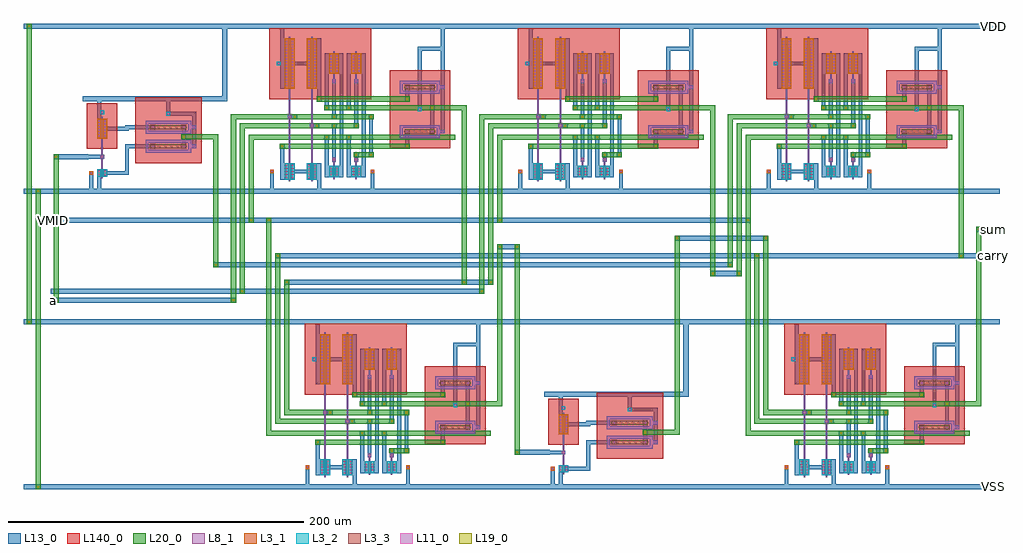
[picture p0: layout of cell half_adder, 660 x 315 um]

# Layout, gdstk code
import gdstk
lib = gdstk.Library(unit=1e-6, precision=1e-09)
def R(c, l, rs):  # rectangles x0, y0, x1, y1
    for r in rs: c.add(gdstk.rectangle(r[:2], r[2:], *l))
def A(c, l, x, y, w, h, nx, ny, dx, dy):  # array of equal rectangles
    R(c, l, [(x+i*dx, y+j*dy, x+i*dx+w, y+j*dy+h) for i in range(nx) for j in range(ny)])
def P(c, l, *ps):  # polygons
    for p in ps: c.add(gdstk.Polygon(p, *l))
L3_1 = (3, 1)
L3_2 = (3, 2)
L3_3 = (3, 3)
L8_1 = (8, 1)
L11_0 = (11, 0)
L13_0 = (13, 0)
L19_0 = (19, 0)
L20_0 = (20, 0)
L140_0 = (140, 0)

fet_p = lib.new_cell('fet_p')
R(fet_p, L3_1, [(-3.3,-6.75,3.3,6.75)])
A(fet_p, L11_0, -2.5, -5.5, 1, 1, 1, 6, 0, 2)
A(fet_p, L11_0, 1.5, -5.5, 1, 1, 1, 6, 0, 2)
R(fet_p, L13_0, [(-3.3,-6.3,-0.7,6.3), (0.7,-6.3,3.3,6.3)])
fet_p.add(gdstk.FlexPath([(0,-7.95),(0,7.95)], 1, ends="flush", simple_path=True, layer=8, datatype=1))  # L8_1

fet_n = lib.new_cell('fet_n')
R(fet_n, L3_2, [(-3.3,-2.5,3.3,2.5)])
R(fet_n, L11_0, [(-2.5,-1.5,-1.5,-0.5), (1.5,-1.5,2.5,-0.5), (-2.5,0.5,-1.5,1.5), (1.5,0.5,2.5,1.5)])
R(fet_n, L13_0, [(-3.3,-2.3,-0.7,2.3), (0.7,-2.3,3.3,2.3)])
fet_n.add(gdstk.FlexPath([(0,-3.7),(0,3.7)], 1, ends="flush", simple_path=True, layer=8, datatype=1))  # L8_1

res_diff = lib.new_cell('res_diff')
P(res_diff, L3_3, [(-11.5,-1.4),(-12.5,-0.4),(-12.5,0.4),(-11.5,1.4),(11.5,1.4),(12.5,0.4),(12.5,-0.4),(11.5,-1.4)])
P(res_diff, L8_1, [(-15.5,-4.4),(-15.5,2.4),(-13.5,2.4),(-13.5,-2.4),(13.5,-2.4),(13.5,2.4),(-15.5,2.4),(-15.5,4.4),(15.5,4.4),(15.5,-4.4)])
R(res_diff, L11_0, [(-11,-0.5,-10,0.5), (10,-0.5,11,0.5)])
R(res_diff, L13_0, [(-12.2,-1.7,-8.8,1.7), (8.8,-1.7,12.2,1.7)])

cont_n = lib.new_cell('cont_n')
R(cont_n, L3_2, [(-1.3,-1.3,1.3,1.3)])
R(cont_n, L11_0, [(-0.5,-0.5,0.5,0.5)])
R(cont_n, L13_0, [(-1.3,-1.3,1.3,1.3)])

cont_p = lib.new_cell('cont_p')
R(cont_p, L3_1, [(-1.3,-1.3,1.3,1.3)])
R(cont_p, L11_0, [(-0.5,-0.5,0.5,0.5)])
R(cont_p, L13_0, [(-1.3,-1.3,1.3,1.3)])

cont_g = lib.new_cell('cont_g')
R(cont_g, L8_1, [(-1.3,-1.3,1.3,1.3)])
R(cont_g, L11_0, [(-0.5,-0.5,0.5,0.5)])
R(cont_g, L13_0, [(-1.3,-1.3,1.3,1.3)])

via_1 = lib.new_cell('via_1')
R(via_1, L13_0, [(-1.7,-1.7,1.7,1.7)])
R(via_1, L19_0, [(-0.7,-0.7,0.7,0.7)])
R(via_1, L20_0, [(-1.7,-1.7,1.7,1.7)])

inverter = lib.new_cell('inverter')
R(inverter, L8_1, [(12.7,13.5,13.7,44.5), (72.2,30.7,76.8,33.3), (72.2,43.7,76.8,46.3)])
R(inverter, L13_0, [(0,0,84,3.4), (4.5,0.4,7.1,15.3), (9.9,0.4,12.5,15.3), (13.9,12.7,31.3,15.3), (28.7,12.7,31.3,33.3), (0,23.7,13.2,26.3), (28.7,30.7,48.8,33.3), (67.2,30.7,69.8,46.3), (74.2,30.7,76.8,55.3), (9.9,42.7,12.5,65.6), (13.9,42.7,31.3,45.3), (28.7,42.7,31.3,46.3), (28.7,43.7,48.8,46.3), (56.7,52.7,59.3,65.6), (56.7,52.7,76.8,55.3), (9.9,53.7,14.5,56.3), (0,62.6,84,66)])
R(inverter, L20_0, [(68.5,36.8,84,40.2)])
R(inverter, L140_0, [(35.5,20.6,80.5,65.3), (2.9,30.25,23.5,61.3)])
inverter.add(gdstk.Reference(fet_p, (13.2,44)))
inverter.add(gdstk.Reference(fet_n, (13.2,14)))
inverter.add(gdstk.Reference(res_diff, (58,45)))
inverter.add(gdstk.Reference(res_diff, (58,32)))
inverter.add(gdstk.Reference(cont_n, (13.2,55)))
inverter.add(gdstk.Reference(cont_n, (58,54)))
inverter.add(gdstk.Reference(cont_p, (5.8,14)))
inverter.add(gdstk.Reference(cont_g, (75.5,32)))
inverter.add(gdstk.Reference(cont_g, (75.5,45)))
inverter.add(gdstk.Reference(cont_g, (13.2,25)))
inverter.add(gdstk.Reference(via_1, (68.5,38.5)))
inverter.add(gdstk.Label('vin', (2,25), layer=48, texttype=0))
inverter.add(gdstk.Label('VDD', (42,64.3), layer=48, texttype=0))
inverter.add(gdstk.Label('VSS', (42,1.7), layer=48, texttype=0))
inverter.add(gdstk.Label('vout', (82,38.5), layer=49, texttype=0))

fet_p_1 = lib.new_cell('fet_p$1')
R(fet_p_1, L3_1, [(-3.3,-17,3.3,17)])
A(fet_p_1, L11_0, -2.5, -15.5, 1, 1, 1, 16, 0, 2)
A(fet_p_1, L11_0, 1.5, -15.5, 1, 1, 1, 16, 0, 2)
R(fet_p_1, L13_0, [(-3.3,-16.3,-0.7,16.3), (0.7,-16.3,3.3,16.3)])
fet_p_1.add(gdstk.FlexPath([(0,-18.2),(0,18.2)], 1, ends="flush", simple_path=True, layer=8, datatype=1))  # L8_1

fet_p_1_1 = lib.new_cell('fet_p$1$1')
R(fet_p_1_1, L3_1, [(-3.3,-7,3.3,7)])
A(fet_p_1_1, L11_0, -2.5, -5.5, 1, 1, 1, 6, 0, 2)
A(fet_p_1_1, L11_0, 1.5, -5.5, 1, 1, 1, 6, 0, 2)
R(fet_p_1_1, L13_0, [(-3.3,-6.3,-0.7,6.3), (0.7,-6.3,3.3,6.3)])
fet_p_1_1.add(gdstk.FlexPath([(0,-8.2),(0,8.2)], 1, ends="flush", simple_path=True, layer=8, datatype=1))  # L8_1

fet_n_1 = lib.new_cell('fet_n$1')
R(fet_n_1, L3_2, [(-3.3,-5.5,3.3,5.5)])
A(fet_n_1, L11_0, -2.5, -4.5, 1, 1, 1, 5, 0, 2)
A(fet_n_1, L11_0, 1.5, -4.5, 1, 1, 1, 5, 0, 2)
R(fet_n_1, L13_0, [(-3.3,-5.3,-0.7,5.3), (0.7,-5.3,3.3,5.3)])
fet_n_1.add(gdstk.FlexPath([(0,-6.7),(0,6.7)], 1, ends="flush", simple_path=True, layer=8, datatype=1))  # L8_1

fet_n_1_1 = lib.new_cell('fet_n$1$1')
R(fet_n_1_1, L3_2, [(-3.3,-4,3.3,4)])
A(fet_n_1_1, L11_0, -2.5, -2.5, 1, 1, 1, 3, 0, 2)
A(fet_n_1_1, L11_0, 1.5, -2.5, 1, 1, 1, 3, 0, 2)
R(fet_n_1_1, L13_0, [(-3.3,-3.3,-0.7,3.3), (0.7,-3.3,3.3,3.3)])
fet_n_1_1.add(gdstk.FlexPath([(0,-5.2),(0,5.2)], 1, ends="flush", simple_path=True, layer=8, datatype=1))  # L8_1

res_diff_1 = lib.new_cell('res_diff$1')
P(res_diff_1, L3_3, [(-9.5,-1.4),(-10.5,-0.4),(-10.5,0.4),(-9.5,1.4),(9.5,1.4),(10.5,0.4),(10.5,-0.4),(9.5,-1.4)])
P(res_diff_1, L8_1, [(-13.5,-4.4),(-13.5,2.4),(-11.5,2.4),(-11.5,-2.4),(11.5,-2.4),(11.5,2.4),(-13.5,2.4),(-13.5,4.4),(13.5,4.4),(13.5,-4.4)])
R(res_diff_1, L11_0, [(-9,-0.5,-8,0.5), (8,-0.5,9,0.5)])
R(res_diff_1, L13_0, [(-10.2,-1.7,-6.8,1.7), (6.8,-1.7,10.2,1.7)])

cont_n_1 = lib.new_cell('cont_n$1')
R(cont_n_1, L3_2, [(-1.3,-1.3,1.3,1.3)])
R(cont_n_1, L11_0, [(-0.5,-0.5,0.5,0.5)])
R(cont_n_1, L13_0, [(-1.3,-1.3,1.3,1.3)])

cont_p_1 = lib.new_cell('cont_p$1')
R(cont_p_1, L3_1, [(-1.3,-1.3,1.3,1.3)])
R(cont_p_1, L11_0, [(-0.5,-0.5,0.5,0.5)])
R(cont_p_1, L13_0, [(-1.3,-1.3,1.3,1.3)])

cont_g_1 = lib.new_cell('cont_g$1')
R(cont_g_1, L8_1, [(-1.3,-1.3,1.3,1.3)])
R(cont_g_1, L11_0, [(-0.5,-0.5,0.5,0.5)])
R(cont_g_1, L13_0, [(-1.3,-1.3,1.3,1.3)])

via_1_1 = lib.new_cell('via_1$1')
R(via_1_1, L13_0, [(-1.7,-1.7,1.7,1.7)])
R(via_1_1, L19_0, [(-0.7,-0.7,0.7,0.7)])
R(via_1_1, L20_0, [(-1.7,-1.7,1.7,1.7)])

nany = lib.new_cell('nany')
R(nany, L8_1, [(19.5,14.5,20.5,88.5), (34.5,14.5,35.5,88.5), (49.5,14.5,50.5,23.5), (64.5,14.5,65.5,23.5), (120.2,40.7,124.8,43.3), (120.2,70.7,124.8,73.3), (49.5,75.5,50.5,88.5), (64.5,75.5,65.5,88.5)])
R(nany, L13_0, [(0,0,132,3.4), (6.7,0.4,9.3,16.3), (38.7,0.4,41.3,16.3), (74.7,0.4,77.3,16.3), (13.7,9.5,19.3,20.5), (35.7,9.5,41.3,20.5), (43.7,11,49.3,19), (50.7,11,56.3,19), (58.7,11,64.3,19), (65.7,11,71.3,19), (13.7,13.7,19.3,16.3), (13.7,13.7,16.3,33.3), (20.7,13.7,34.3,16.3), (35.7,13.7,41.3,16.3), (43.7,13.7,49.3,16.3), (43.7,13.7,46.3,39.3), (50.7,13.7,56.3,16.3), (53.7,13.7,56.3,89.3), (58.7,13.7,64.3,16.3), (58.7,13.7,61.3,39.3), (65.7,13.7,71.3,16.3), (68.7,13.7,71.3,89.3), (48.7,21.7,51.3,47.3), (48.7,21.7,51.3,24.3), (63.7,21.7,66.3,27.6), (73.7,25,76.3,27.6), (73.7,25,76.3,53.3), (98.2,30.7,100.8,43.3), (98.2,40.7,100.8,43.3), (115.2,40.7,117.8,73.3), (122.2,40.7,124.8,99.3), (33.7,44.7,39.6,47.3), (63.7,44.7,66.3,77.3), (18.7,50.7,24.6,53.3), (48.7,50.7,51.3,77.3), (106.7,55.7,109.3,99.3), (43.7,56.7,46.3,89.3), (58.7,56.7,61.3,89.3), (38.7,62.7,41.3,89.3), (98.2,62.7,100.8,73.3), (98.2,70.7,100.8,73.3), (13.7,71,19.3,105), (35.7,71,41.3,105), (48.7,74.7,51.3,77.3), (63.7,74.7,66.3,77.3), (43.7,81,49.3,95), (50.7,81,56.3,95), (58.7,81,64.3,95), (65.7,81,71.3,95), (11.3,86.7,16.3,89.3), (13.7,86.7,16.3,114.6), (13.7,86.7,19.3,89.3), (20.7,86.7,34.3,89.3), (35.7,86.7,41.3,89.3), (43.7,86.7,49.3,89.3), (50.7,86.7,56.3,89.3), (58.7,86.7,64.3,89.3), (65.7,86.7,71.3,89.3), (106.7,96.7,124.8,99.3), (122.2,96.7,124.8,114.6), (0,111.6,132,115)])
R(nany, L20_0, [(63.3,24.6,76.7,28), (13.3,30.3,101.2,33.7), (0,36.3,132,39.7), (0,44.3,66.7,47.7), (0,50.3,76.7,53.7), (43.3,56.3,132,59.7), (38.3,62.3,101.2,65.7)])
R(nany, L140_0, [(87.5,30.6,128.5,83.4), (6.3,64,75.3,112)])
nany.add(gdstk.Reference(fet_p_1, (35,88)))
nany.add(gdstk.Reference(fet_p_1, (20,88)))
nany.add(gdstk.Reference(fet_p_1_1, (50,88)))
nany.add(gdstk.Reference(fet_p_1_1, (65,88)))
nany.add(gdstk.Reference(fet_n_1, (20,15)))
nany.add(gdstk.Reference(fet_n_1, (35,15)))
nany.add(gdstk.Reference(fet_n_1_1, (50,15)))
nany.add(gdstk.Reference(fet_n_1_1, (65,15)))
nany.add(gdstk.Reference(res_diff_1, (108,72)))
nany.add(gdstk.Reference(res_diff_1, (108,42)))
nany.add(gdstk.Reference(cont_n_1, (12.6,88)))
nany.add(gdstk.Reference(cont_n_1, (108,57)))
nany.add(gdstk.Reference(cont_p_1, (8,15)))
nany.add(gdstk.Reference(cont_p_1, (76,15)))
nany.add(gdstk.Reference(cont_g_1, (50,23)))
nany.add(gdstk.Reference(cont_g_1, (50,76)))
nany.add(gdstk.Reference(cont_g_1, (65,76)))
nany.add(gdstk.Reference(cont_g_1, (65,23)))
nany.add(gdstk.Reference(cont_g_1, (35,46)))
nany.add(gdstk.Reference(cont_g_1, (20,52)))
nany.add(gdstk.Reference(cont_g_1, (123.5,72)))
nany.add(gdstk.Reference(cont_g_1, (123.5,42)))
nany.add(gdstk.Reference(via_1_1, (75,26.3)))
nany.add(gdstk.Reference(via_1_1, (65,26.3)))
nany.add(gdstk.Reference(via_1_1, (75,52)))
nany.add(gdstk.Reference(via_1_1, (50,46)))
nany.add(gdstk.Reference(via_1_1, (99.5,64)))
nany.add(gdstk.Reference(via_1_1, (99.5,32)))
nany.add(gdstk.Reference(via_1_1, (116.5,58)))
nany.add(gdstk.Reference(via_1_1, (65,46)))
nany.add(gdstk.Reference(via_1_1, (50,52)))
nany.add(gdstk.Reference(via_1_1, (38.3,46)))
nany.add(gdstk.Reference(via_1_1, (23.3,52)))
nany.add(gdstk.Reference(via_1_1, (60,38)))
nany.add(gdstk.Reference(via_1_1, (60,58)))
nany.add(gdstk.Reference(via_1_1, (45,38)))
nany.add(gdstk.Reference(via_1_1, (45,58)))
nany.add(gdstk.Reference(via_1_1, (15,32)))
nany.add(gdstk.Reference(via_1_1, (40,64)))
nany.add(gdstk.Label('VDD', (66,113.3), layer=48, texttype=0))
nany.add(gdstk.Label('VSS', (66,1.7), layer=48, texttype=0))
nany.add(gdstk.Label('a', (2,52), layer=49, texttype=0))
nany.add(gdstk.Label('b', (2,46), layer=49, texttype=0))
nany.add(gdstk.Label('vout', (130,58), layer=49, texttype=0))
nany.add(gdstk.Label('VMID', (66,38), layer=49, texttype=0))

half_adder = lib.new_cell('half_adder')
R(half_adder, L13_0, [(0,0,660,3.4), (8.3,0,11.7,3.4), (332.3,23.3,355.7,26.7), (332.3,23.3,335.7,26.7), (432.6,62.6,449.7,66), (446.3,62.6,449.7,115), (0,111.6,660,115), (2.3,111.6,5.7,115), (18.3,126.3,143.7,129.7), (20.3,126.3,23.7,129.7), (140.3,126.3,143.7,129.7), (18.3,132.3,311.7,135.7), (146.3,132.3,149.7,135.7), (308.3,132.3,311.7,135.7), (176.3,138.3,179.7,141.7), (176.3,138.3,317.7,141.7), (296.3,138.3,299.7,141.7), (314.3,138.3,317.7,141.7), (464.3,144.3,467.7,147.7), (464.3,144.3,485.7,147.7), (482.3,144.3,485.7,147.7), (128.3,150.3,131.7,153.7), (128.3,150.3,479.7,153.7), (476.3,150.3,479.7,153.7), (170.3,156.3,173.7,159.7), (170.3,156.3,657.7,159.7), (494.3,156.3,497.7,159.7), (632.3,156.3,635.7,159.7), (320.3,162.3,323.7,165.7), (320.3,162.3,335.7,165.7), (332.3,162.3,335.7,165.7), (440.3,168.3,443.7,171.7), (440.3,168.3,503.7,171.7), (500.3,168.3,503.7,171.7), (644.3,174.3,647.7,177.7), (644.3,174.3,657.7,177.7), (18.3,180.3,491.7,183.7), (152.3,180.3,155.7,183.7), (164.3,180.3,167.7,183.7), (320.3,180.3,323.7,183.7), (488.3,180.3,491.7,183.7), (488.3,180.3,491.7,183.7), (0,200,660,203.4), (8.3,200,11.7,203.4), (20.3,223.3,43.7,226.7), (20.3,223.3,23.7,226.7), (120.6,262.6,137.7,266), (134.3,262.6,137.7,315), (0,311.6,660,315), (2.3,311.6,5.7,315)])
R(half_adder, L19_0, [(9.3,1,10.7,2.4), (333.3,24.3,334.7,25.7), (3.3,112.6,4.7,114), (21.3,127.3,22.7,128.7), (141.3,127.3,142.7,128.7), (147.3,133.3,148.7,134.7), (309.3,133.3,310.7,134.7), (177.3,139.3,178.7,140.7), (297.3,139.3,298.7,140.7), (315.3,139.3,316.7,140.7), (465.3,145.3,466.7,146.7), (483.3,145.3,484.7,146.7), (129.3,151.3,130.7,152.7), (477.3,151.3,478.7,152.7), (171.3,157.3,172.7,158.7), (495.3,157.3,496.7,158.7), (633.3,157.3,634.7,158.7), (321.3,163.3,322.7,164.7), (333.3,163.3,334.7,164.7), (441.3,169.3,442.7,170.7), (501.3,169.3,502.7,170.7), (645.3,175.3,646.7,176.7), (153.3,181.3,154.7,182.7), (165.3,181.3,166.7,182.7), (321.3,181.3,322.7,182.7), (489.3,181.3,490.7,182.7), (489.3,181.3,490.7,182.7), (9.3,201,10.7,202.4), (21.3,224.3,22.7,225.7), (3.3,312.6,4.7,314)])
A(half_adder, L20_0, 152.3, 180.3, 3.4, 59.4, 3, 1, 168, 0)
A(half_adder, L20_0, 152.3, 236.3, 75.4, 3.4, 3, 1, 168, 0)
A(half_adder, L20_0, 146.3, 244.3, 17.4, 3.4, 3, 1, 168, 0)
A(half_adder, L20_0, 140.3, 250.3, 23.4, 3.4, 3, 1, 168, 0)
A(half_adder, L20_0, 288.3, 256.3, 11.4, 3.4, 3, 1, 168, 0)
R(half_adder, L20_0, [(8.3,0,11.7,3.4), (8.3,0,11.7,203.4), (332.3,23.3,335.7,26.7), (332.3,23.3,335.7,165.7), (164.3,36.3,251.7,39.7), (164.3,36.3,167.7,183.7), (488.3,36.3,575.7,39.7), (488.3,36.3,491.7,183.7), (432.3,36.8,443.7,40.2), (440.3,36.8,443.7,171.7), (170.3,44.3,187.7,47.7), (170.3,44.3,173.7,159.7), (494.3,44.3,511.7,47.7), (494.3,44.3,497.7,159.7), (176.3,50.3,187.7,53.7), (176.3,50.3,179.7,141.7), (500.3,50.3,511.7,53.7), (500.3,50.3,503.7,171.7), (312.3,56.3,323.7,59.7), (320.3,56.3,323.7,165.7), (636.3,56.3,647.7,59.7), (644.3,56.3,647.7,177.7), (2.3,111.6,5.7,115), (2.3,111.6,5.7,315), (20.3,126.3,23.7,129.7), (20.3,126.3,23.7,226.7), (140.3,126.3,143.7,129.7), (140.3,126.3,143.7,253.7), (146.3,132.3,149.7,135.7), (146.3,132.3,149.7,247.7), (308.3,132.3,311.7,135.7), (308.3,132.3,311.7,253.7), (176.3,138.3,179.7,141.7), (296.3,138.3,299.7,141.7), (296.3,138.3,299.7,259.7), (314.3,138.3,317.7,141.7), (314.3,138.3,317.7,247.7), (464.3,144.3,467.7,147.7), (464.3,144.3,467.7,259.7), (482.3,144.3,485.7,147.7), (482.3,144.3,485.7,247.7), (128.3,150.3,131.7,153.7), (128.3,150.3,131.7,240.2), (476.3,150.3,479.7,153.7), (476.3,150.3,479.7,253.7), (170.3,156.3,173.7,159.7), (494.3,156.3,497.7,159.7), (632.3,156.3,635.7,159.7), (632.3,156.3,635.7,259.7), (320.3,162.3,323.7,165.7), (332.3,162.3,335.7,165.7), (440.3,168.3,443.7,171.7), (500.3,168.3,503.7,171.7), (644.3,174.3,647.7,177.7), (152.3,180.3,155.7,183.7), (164.3,180.3,167.7,183.7), (320.3,180.3,323.7,183.7), (488.3,180.3,491.7,183.7), (488.3,180.3,491.7,183.7), (8.3,200,11.7,203.4), (20.3,223.3,23.7,226.7), (120.3,236.8,131.7,240.2), (2.3,311.6,5.7,315)])
half_adder.add(gdstk.Reference(inverter, (40,200)))
half_adder.add(gdstk.Reference(nany, (160,200)))
half_adder.add(gdstk.Reference(nany, (328,200)))
half_adder.add(gdstk.Reference(nany, (496,200)))
half_adder.add(gdstk.Reference(nany, (184,0)))
half_adder.add(gdstk.Reference(inverter, (352,0)))
half_adder.add(gdstk.Reference(nany, (508,0)))
half_adder.add(gdstk.Label('a', (20,128), layer=48, texttype=0))
half_adder.add(gdstk.Label('b', (20,134), layer=48, texttype=0))
half_adder.add(gdstk.Label('carry', (656,158), layer=48, texttype=0))
half_adder.add(gdstk.Label('sum', (656,176), layer=48, texttype=0))
half_adder.add(gdstk.Label('VMID', (20,182), layer=48, texttype=0))
half_adder.add(gdstk.Label('VDD', (656,313.3), layer=48, texttype=0))
half_adder.add(gdstk.Label('VSS', (656,1.7), layer=48, texttype=0))

lib.write_gds('half_adder.gds')
